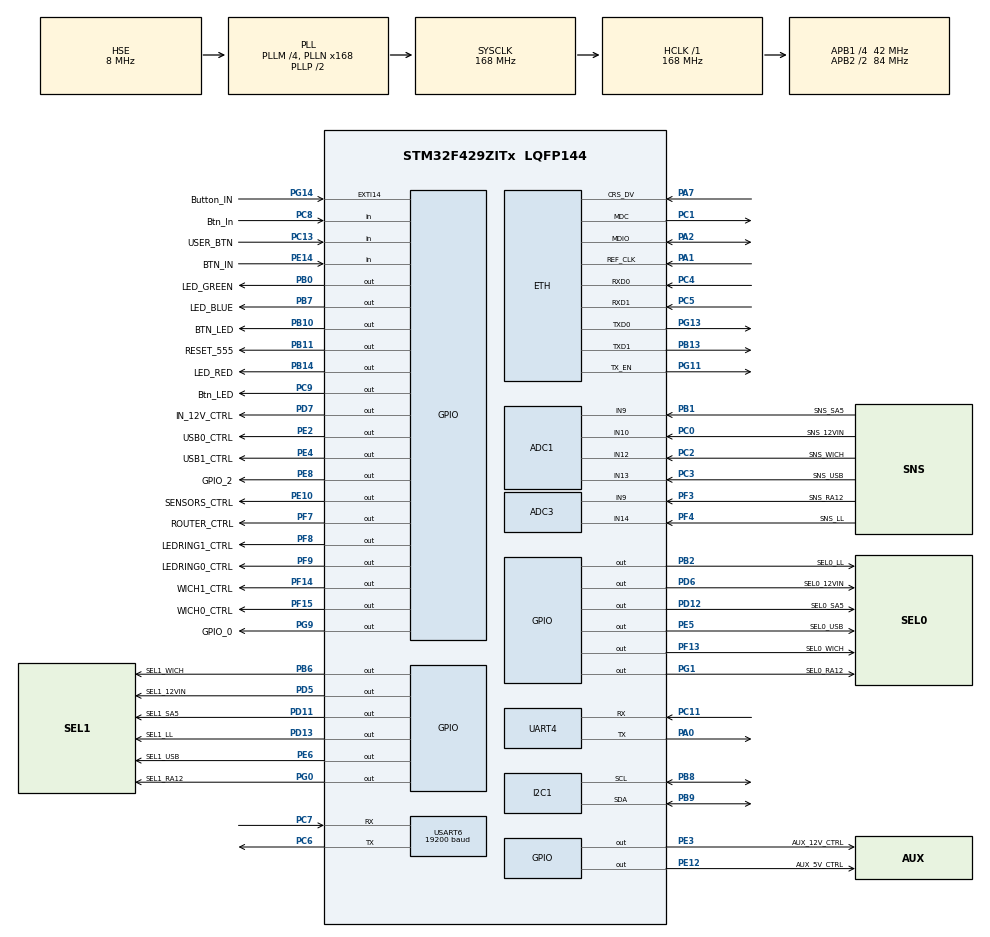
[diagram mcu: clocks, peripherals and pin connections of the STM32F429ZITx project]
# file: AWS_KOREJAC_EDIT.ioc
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ADC1.Channel-1\#ChannelRegularConversion=ADC_CHANNEL_9
ADC1.Channel-2\#ChannelRegularConversion=ADC_CHANNEL_9
ADC1.Channel-3\#ChannelRegularConversion=ADC_CHANNEL_9
ADC1.Channel-4\#ChannelRegularConversion=ADC_CHANNEL_9
ADC1.ContinuousConvMode=ENABLE
ADC1.NbrOfConversion=4
ADC1.NbrOfConversionFlag=1
ADC1.Rank-1\#ChannelRegularConversion=1
ADC1.Rank-2\#ChannelRegularConversion=2
ADC1.Rank-3\#ChannelRegularConversion=3
ADC1.Rank-4\#ChannelRegularConversion=4
ADC1.SamplingTime-1\#ChannelRegularConversion=ADC_SAMPLETIME_3CYCLES
ADC1.SamplingTime-2\#ChannelRegularConversion=ADC_SAMPLETIME_3CYCLES
ADC1.SamplingTime-3\#ChannelRegularConversion=ADC_SAMPLETIME_3CYCLES
ADC1.SamplingTime-4\#ChannelRegularConversion=ADC_SAMPLETIME_3CYCLES
ADC1.ScanConvMode=ENABLE
ADC1.master=1
ADC3.Channel-0\#ChannelRegularConversion=ADC_CHANNEL_9
ADC3.Channel-1\#ChannelRegularConversion=ADC_CHANNEL_9
ADC3.ContinuousConvMode=ENABLE
ADC3.NbrOfConversion=2
ADC3.NbrOfConversionFlag=1
ADC3.Rank-0\#ChannelRegularConversion=1
ADC3.Rank-1\#ChannelRegularConversion=2
ADC3.SamplingTime-0\#ChannelRegularConversion=ADC_SAMPLETIME_3CYCLES
ADC3.SamplingTime-1\#ChannelRegularConversion=ADC_SAMPLETIME_3CYCLES
ADC3.ScanConvMode=ENABLE
ETH.MediaInterface=ETH_MEDIA_INTERFACE_RMII
ETH.PhyAddress=0
FREERTOS.Tasks01=defaultTask,0,1024,StartDefaultTask,Default,NULL,Dynamic,NULL,NULL
FREERTOS.configCHECK_FOR_STACK_OVERFLOW=2
FREERTOS.configENABLE_FPU=1
FREERTOS.configMINIMAL_STACK_SIZE=256
FREERTOS.configTOTAL_HEAP_SIZE=65535
IWDG.Prescaler=IWDG_PRESCALER_256
LWIP.LWIP_NETIF_LINK_CALLBACK=1
LWIP.LWIP_SO_RCVBUF=1
LWIP.Version=v2.1.2_Cube
MBEDTLS.MBEDTLS_DEBUG_C=1
MBEDTLS.MBEDTLS_DHM_C=1
MBEDTLS.MBEDTLS_ECJPAKE_C=1
MBEDTLS.MBEDTLS_ECP_DP_CURVE448_ENABLED=0
MBEDTLS.MBEDTLS_ECP_DP_SECP384R1_ENABLED=0
MBEDTLS.MBEDTLS_ENTROPY_FORCE_SHA256=1
MBEDTLS.MBEDTLS_KEY_EXCHANGE_DHE_PSK_ENABLED=0
MBEDTLS.MBEDTLS_KEY_EXCHANGE_DHE_RSA_ENABLED=0
MBEDTLS.MBEDTLS_KEY_EXCHANGE_ECDHE_ECDSA_ENABLED=1
MBEDTLS.MBEDTLS_KEY_EXCHANGE_ECDHE_PSK_ENABLED=0
MBEDTLS.MBEDTLS_KEY_EXCHANGE_ECDHE_RSA_ENABLED=1
MBEDTLS.MBEDTLS_KEY_EXCHANGE_ECDH_ECDSA_ENABLED=0
MBEDTLS.MBEDTLS_KEY_EXCHANGE_ECDH_RSA_ENABLED=0
MBEDTLS.MBEDTLS_KEY_EXCHANGE_ECJPAKE_ENABLED=0
MBEDTLS.MBEDTLS_KEY_EXCHANGE_PSK_ENABLED=0
MBEDTLS.MBEDTLS_KEY_EXCHANGE_RSA_ENABLED=1
MBEDTLS.MBEDTLS_KEY_EXCHANGE_RSA_PSK_ENABLED=0
MBEDTLS.MBEDTLS_MD5_C=1
MBEDTLS.MBEDTLS_MPI_MAX_SIZE=256
MBEDTLS.MBEDTLS_PKCS1_V15=1
MBEDTLS.MBEDTLS_PKCS1_V21=1
MBEDTLS.MBEDTLS_PLATFORM_MEMORY=1
MBEDTLS.MBEDTLS_RSA_C=1
MBEDTLS.MBEDTLS_SHA1_C=1
MBEDTLS.MBEDTLS_SSL_CIPHERSUITES=MBEDTLS_TLS_ECDHE_ECDSA_WITH_AES_256_GCM_SHA384,MBEDTLS_TLS_ECDHE_ECDSA_WITH_AES_128_GCM_SHA256,MBEDTLS_TLS_ECDHE_RSA_WITH_AES_128_GCM_SHA256
MBEDTLS.MBEDTLS_SSL_CIPHERSUITES_ENABLE=0
MBEDTLS.MBEDTLS_SSL_IN_CONTENT_LEN=4096
MBEDTLS.MBEDTLS_SSL_IN_CONTENT_LEN_ENABLE=0
MBEDTLS.MBEDTLS_SSL_MAX_CONTENT_LEN=8192
MBEDTLS.MBEDTLS_SSL_MAX_CONTENT_LEN_ENABLE=1
Mcu.Family=STM32F4
Mcu.Name=STM32F429ZITx
Mcu.Package=LQFP144
NVIC.ETH_IRQn=true\:5\:0\:false\:false\:true\:true\:false\:true
NVIC.EXTI15_10_IRQn=true\:5\:0\:false\:false\:true\:true\:true\:true
NVIC.PriorityGroup=NVIC_PRIORITYGROUP_4
NVIC.TIM6_DAC_IRQn=true\:0\:0\:false\:false\:true\:false\:false\:true
NVIC.TimeBase=TIM6_DAC_IRQn
NVIC.TimeBaseIP=TIM6
PA0/WKUP.Mode=Asynchronous
PA0/WKUP.Signal=UART4_TX
PA1.Mode=RMII
PA1.Signal=ETH_REF_CLK
PA13.Mode=Trace_Asynchronous_SW
PA13.Signal=SYS_JTMS-SWDIO
PA14.Mode=Trace_Asynchronous_SW
PA14.Signal=SYS_JTCK-SWCLK
PA2.Mode=RMII
PA2.Signal=ETH_MDIO
PA7.Mode=RMII
PA7.Signal=ETH_CRS_DV
PB0.GPIO_Label=LED_GREEN
PB0.Signal=GPIO_Output
PB1.GPIO_Label=SNS_SA5
PB1.Signal=ADCx_IN9
PB10.GPIO_Label=BTN_LED
PB10.Signal=GPIO_Output
PB11.GPIO_Label=RESET_555
PB11.Signal=GPIO_Output
PB13.Mode=RMII
PB13.Signal=ETH_TXD1
PB14.GPIO_Label=LED_RED
PB14.Signal=GPIO_Output
PB2/BOOT1.GPIO_Label=SEL0_LL
PB2/BOOT1.Signal=GPIO_Output
PB3.Mode=Trace_Asynchronous_SW
PB3.Signal=SYS_JTDO-SWO
PB6.GPIO_Label=SEL1_WICH
PB6.Signal=GPIO_Output
PB7.GPIO_Label=LED_BLUE
PB7.Signal=GPIO_Output
PB8.Mode=I2C
PB8.Signal=I2C1_SCL
PB9.Mode=I2C
PB9.Signal=I2C1_SDA
PC0.GPIO_Label=SNS_12VIN
PC0.Signal=ADCx_IN10
PC1.Mode=RMII
PC1.Signal=ETH_MDC
PC11.Mode=Asynchronous
PC11.Signal=UART4_RX
PC13.GPIO_Label=USER_BTN
PC13.Signal=GPIO_Input
PC14/OSC32_IN.Mode=LSE-External-Oscillator
PC14/OSC32_IN.Signal=RCC_OSC32_IN
PC15/OSC32_OUT.Mode=LSE-External-Oscillator
PC15/OSC32_OUT.Signal=RCC_OSC32_OUT
PC2.GPIO_Label=SNS_WICH
PC2.Signal=ADCx_IN12
PC3.GPIO_Label=SNS_USB
PC3.Signal=ADCx_IN13
PC4.Mode=RMII
PC4.Signal=ETH_RXD0
PC5.Mode=RMII
PC5.Signal=ETH_RXD1
PC6.Mode=Asynchronous
PC6.Signal=USART6_TX
PC7.Mode=Asynchronous
PC7.Signal=USART6_RX
PC8.GPIO_Label=Btn_In
PC8.Signal=GPIO_Input
PC9.GPIO_Label=Btn_LED
PC9.Signal=GPIO_Output
PD11.GPIO_Label=SEL1_SA5
PD11.Signal=GPIO_Output
PD12.GPIO_Label=SEL0_SA5
PD12.Signal=GPIO_Output
PD13.GPIO_Label=SEL1_LL
PD13.Signal=GPIO_Output
PD5.GPIO_Label=SEL1_12VIN
PD5.Signal=GPIO_Output
PD6.GPIO_Label=SEL0_12VIN
PD6.Signal=GPIO_Output
PD7.GPIO_Label=IN_12V_CTRL
PD7.Signal=GPIO_Output
PE10.GPIO_Label=SENSORS_CTRL
PE10.Signal=GPIO_Output
PE12.GPIO_Label=AUX_5V_CTRL
PE12.Signal=GPIO_Output
PE14.GPIO_Label=BTN_IN
PE14.Signal=GPIO_Input
PE2.GPIO_Label=USB0_CTRL
PE2.Signal=GPIO_Output
PE3.GPIO_Label=AUX_12V_CTRL
PE3.Signal=GPIO_Output
PE4.GPIO_Label=USB1_CTRL
PE4.Signal=GPIO_Output
PE5.GPIO_Label=SEL0_USB
PE5.Signal=GPIO_Output
PE6.GPIO_Label=SEL1_USB
PE6.Signal=GPIO_Output
PE8.GPIO_Label=GPIO_2
PE8.Signal=GPIO_Output
PF13.GPIO_Label=SEL0_WICH
PF13.Signal=GPIO_Output
PF14.GPIO_Label=WICH1_CTRL
PF14.Signal=GPIO_Output
PF15.GPIO_Label=WICH0_CTRL
PF15.Signal=GPIO_Output
PF3.GPIO_Label=SNS_RA12
PF3.Mode=IN9
PF3.Signal=ADC3_IN9
PF4.GPIO_Label=SNS_LL
PF4.Mode=IN14
PF4.Signal=ADC3_IN14
PF7.GPIO_Label=ROUTER_CTRL
PF7.Signal=GPIO_Output
PF8.GPIO_Label=LEDRING1_CTRL
PF8.Signal=GPIO_Output
PF9.GPIO_Label=LEDRING0_CTRL
PF9.Signal=GPIO_Output
PG0.GPIO_Label=SEL1_RA12
PG0.Signal=GPIO_Output
PG1.GPIO_Label=SEL0_RA12
PG1.Signal=GPIO_Output
PG11.Mode=RMII
PG11.Signal=ETH_TX_EN
PG13.Mode=RMII
PG13.Signal=ETH_TXD0
PG14.GPIO_Label=Button_IN
PG14.GPIO_PuPd=GPIO_PULLDOWN
PG14.Signal=GPXTI14
PG9.GPIO_Label=GPIO_0
PG9.Signal=GPIO_Output
PH0/OSC_IN.Mode=HSE-External-Clock-Source
PH0/OSC_IN.Signal=RCC_OSC_IN
PH1/OSC_OUT.Mode=HSE-External-Clock-Source
PH1/OSC_OUT.Signal=RCC_OSC_OUT
ProjectManager.HeapSize=0x200
ProjectManager.StackSize=0x400
ProjectManager.TargetToolchain=STM32CubeIDE
RCC.48MHZClocksFreq_Value=48000000
RCC.AHBFreq_Value=168000000
RCC.APB1CLKDivider=RCC_HCLK_DIV4
RCC.APB1Freq_Value=42000000
RCC.APB1TimFreq_Value=84000000
RCC.APB2CLKDivider=RCC_HCLK_DIV2
RCC.APB2Freq_Value=84000000
RCC.APB2TimCLKDivider=2
RCC.APB2TimFreq_Value=168000000
RCC.CortexFreq_Value=168000000
RCC.HCLKFreq_Value=168000000
RCC.HSE_VALUE=8000000
RCC.HSI_VALUE=16000000
RCC.PLLM=4
RCC.PLLMUL=RCC_PLL_MUL9
RCC.PLLN=168
RCC.PLLQ=7
RCC.PLLSourceVirtual=RCC_PLLSOURCE_HSE
RCC.PRESCALERUSB=RCC_USBCLKSOURCE_PLL_DIV1_5
RCC.SYSCLKFreq_VALUE=168000000
RCC.SYSCLKSource=RCC_SYSCLKSOURCE_PLLCLK
RCC.SYSCLKSourceVirtual=RCC_SYSCLKSOURCE_PLLCLK
RCC.USBFreq_Value=48000000
RCC.VCOOutputFreq_Value=336000000
SH.ADCx_IN10.0=ADC1_IN10,IN10
SH.ADCx_IN12.0=ADC1_IN12,IN12
SH.ADCx_IN13.0=ADC1_IN13,IN13
SH.ADCx_IN9.0=ADC1_IN9,IN9
UART4.VirtualMode=Asynchronous
USART6.BaudRate=19200
USART6.VirtualMode=VM_ASYNC
VP_FREERTOS_VS_CMSIS_V1.Mode=CMSIS_V1
VP_IWDG_VS_IWDG.Mode=IWDG_Activate
VP_LWIP_VS_Enabled.Mode=Enabled
VP_MBEDTLS_VS_MBEDTLS.Mode=Enabled
VP_RNG_VS_RNG.Mode=RNG_Activate
VP_SYS_VS_tim6.Mode=TIM6
board=NUCLEO-F429ZI

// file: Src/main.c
/* USER CODE BEGIN Header */
/**
  ******************************************************************************
  * @file           : main.c
  * @brief          : Main program body
  ******************************************************************************
  * @attention
  *
  * <h2><center>&copy; Copyright (c) 2020 STMicroelectronics.
  * All rights reserved.</center></h2>
  *
  * This software component is licensed by ST under Ultimate Liberty license
  * SLA0044, the "License"; You may not use this file except in compliance with
  * the License. You may obtain a copy of the License at:
  *                             www.st.com/SLA0044
  *
  ******************************************************************************
  */
/* USER CODE END Header */

#include "main.h"
#include "cmsis_os.h"
#include "adc.h"
#include "i2c.h"
#include "iwdg.h"
#include "mbedtls.h"
#include "rng.h"
#include "usart.h"
#include "gpio.h"

/* USER CODE BEGIN Includes */
#include "time.h"
#include <string.h>
#include "RTC.h"
#include <stdio.h>
/* USER CODE END Includes */

/* USER CODE BEGIN PV */
extern uint32_t MilliTimer;
/* USER CODE END PV */

void SystemClock_Config(void);
void MX_FREERTOS_Init(void);

/* USER CODE BEGIN 0 */
int _write(int file, char *ptr, int len)
{
  int DataIdx;

  for (DataIdx = 0; DataIdx < len; DataIdx++)
  {
    ITM_SendChar(*ptr++);
  }
  return len;
}
/* USER CODE END 0 */

int main(void)
{

  /* MCU Configuration--------------------------------------------------------*/

  /* Reset of all peripherals, Initializes the Flash interface and the Systick. */
  HAL_Init();

  /* Configure the system clock */
  SystemClock_Config();

  /* Initialize all configured peripherals */
  MX_GPIO_Init();
  MX_RNG_Init();
  /* Up to user define the empty MX_MBEDTLS_Init() function located in mbedtls.c file */
  MX_UART4_Init();
  MX_I2C1_Init();
  MX_USART6_UART_Init();
  MX_ADC1_Init();
  MX_ADC3_Init();
  MX_IWDG_Init();
  /* USER CODE BEGIN 2 */
  printf("Don't remove this printf to prevent hard fault.\r\n");
  srand(time(NULL));
  setTime(00, 58, 19, 1, 23, 11, 21);
  //setMpptMode(5);
  HAL_GPIO_WritePin(RESET_555_GPIO_Port, RESET_555_Pin, RESET);
  HAL_GPIO_WritePin(IN_12V_CTRL_GPIO_Port, IN_12V_CTRL_Pin, SET);
  HAL_GPIO_WritePin(ROUTER_CTRL_GPIO_Port, ROUTER_CTRL_Pin, SET);
  HAL_GPIO_WritePin(GPIO_0_GPIO_Port, GPIO_0_Pin, RESET);
  HAL_GPIO_WritePin(GPIO_2_GPIO_Port, GPIO_2_Pin, SET);
  HAL_IWDG_Refresh(&hiwdg);
  /* USER CODE END 2 */

  /* Call init function for freertos objects (in freertos.c) */
  MX_FREERTOS_Init();
  /* Start scheduler */
  osKernelStart();

  /* We should never get here as control is now taken by the scheduler */
  /* Infinite loop */
  while (1)
  {

  }
}

void SystemClock_Config(void)
{
  RCC_OscInitTypeDef RCC_OscInitStruct = {0};
  RCC_ClkInitTypeDef RCC_ClkInitStruct = {0};

  /** Configure the main internal regulator output voltage
  */
  __HAL_RCC_PWR_CLK_ENABLE();
  __HAL_PWR_VOLTAGESCALING_CONFIG(PWR_REGULATOR_VOLTAGE_SCALE1);
  /** Initializes the CPU, AHB and APB busses clocks
  */
  RCC_OscInitStruct.OscillatorType = RCC_OSCILLATORTYPE_LSI|RCC_OSCILLATORTYPE_HSE;
  RCC_OscInitStruct.HSEState = RCC_HSE_BYPASS;
  RCC_OscInitStruct.LSIState = RCC_LSI_ON;
  RCC_OscInitStruct.PLL.PLLState = RCC_PLL_ON;
  RCC_OscInitStruct.PLL.PLLSource = RCC_PLLSOURCE_HSE;
  RCC_OscInitStruct.PLL.PLLM = 4;
  RCC_OscInitStruct.PLL.PLLN = 168;
  RCC_OscInitStruct.PLL.PLLP = RCC_PLLP_DIV2;
  RCC_OscInitStruct.PLL.PLLQ = 7;
  if (HAL_RCC_OscConfig(&RCC_OscInitStruct) != HAL_OK)
  {
    Error_Handler();
  }
  /** Initializes the CPU, AHB and APB busses clocks
  */
  RCC_ClkInitStruct.ClockType = RCC_CLOCKTYPE_HCLK|RCC_CLOCKTYPE_SYSCLK
                              |RCC_CLOCKTYPE_PCLK1|RCC_CLOCKTYPE_PCLK2;
  RCC_ClkInitStruct.SYSCLKSource = RCC_SYSCLKSOURCE_PLLCLK;
  RCC_ClkInitStruct.AHBCLKDivider = RCC_SYSCLK_DIV1;
  RCC_ClkInitStruct.APB1CLKDivider = RCC_HCLK_DIV4;
  RCC_ClkInitStruct.APB2CLKDivider = RCC_HCLK_DIV2;

  if (HAL_RCC_ClockConfig(&RCC_ClkInitStruct, FLASH_LATENCY_5) != HAL_OK)
  {
    Error_Handler();
  }
}

 /**
  * @brief  Period elapsed callback in non blocking mode
  * @note   This function is called  when TIM6 interrupt took place, inside
  * HAL_TIM_IRQHandler(). It makes a direct call to HAL_IncTick() to increment
  * a global variable "uwTick" used as application time base.
  * @param  htim : TIM handle
  * @retval None
  */
void HAL_TIM_PeriodElapsedCallback(TIM_HandleTypeDef *htim)
{
  if (htim->Instance == TIM6) {
    HAL_IncTick();
  }
  /* USER CODE BEGIN Callback 1 */
  if (htim->Instance == TIM6) {
      MilliTimer++;
  }

  /* USER CODE END Callback 1 */
}

void Error_Handler(void)
{
}

/************************ (C) COPYRIGHT STMicroelectronics *****END OF FILE****/

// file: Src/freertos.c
/* USER CODE BEGIN Header */
/**
 ******************************************************************************
 * File Name          : freertos.c
 * Description        : Code for freertos applications
 ******************************************************************************
 * @attention
 *
 * <h2><center>&copy; Copyright (c) 2020 STMicroelectronics.
 * All rights reserved.</center></h2>
 *
 * This software component is licensed by ST under Ultimate Liberty license
 * SLA0044, the "License"; You may not use this file except in compliance with
 * the License. You may obtain a copy of the License at:
 *                             www.st.com/SLA0044
 *
 ******************************************************************************
 */
/* USER CODE END Header */

#include "FreeRTOS.h"
#include "task.h"
#include "main.h"
#include "cmsis_os.h"

/* USER CODE BEGIN Includes */
#include "lwip.h"
#include "lwip/api.h"
#include "mqtt_task.h"

/* USER CODE END Includes */

/* USER CODE BEGIN Variables */
extern struct netif gnetif; //extern gnetif

osThreadId mqttClientSubTaskHandle;  //mqtt client task handle
osThreadId mqttClientPubTaskHandle;  //mqtt client task handle
/* USER CODE END Variables */
osThreadId defaultTaskHandle;

/* USER CODE BEGIN FunctionPrototypes */
void MqttClientSubTask(void const *argument); //mqtt client subscribe task function
void MqttClientPubTask(void const *argument); //mqtt client publish task function
int  MqttConnectBroker(void); 				//mqtt broker connect function
void MqttMessageArrived(MessageData* msg); //mqtt message callback function
//void StartT2RTC(void const * argument);
/* USER CODE END FunctionPrototypes */

void StartDefaultTask(void const * argument);

extern void MX_LWIP_Init(void);
void MX_FREERTOS_Init(void); /* (MISRA C 2004 rule 8.1) */

/* GetIdleTaskMemory prototype (linked to static allocation support) */
void vApplicationGetIdleTaskMemory( StaticTask_t **ppxIdleTaskTCBBuffer, StackType_t **ppxIdleTaskStackBuffer, uint32_t *pulIdleTaskStackSize );

/* Hook prototypes */
void vApplicationStackOverflowHook(xTaskHandle xTask, signed char *pcTaskName);

/* USER CODE BEGIN 4 */
void vApplicationStackOverflowHook(xTaskHandle xTask, signed char *pcTaskName)
{
	/* Run time stack overflow checking is performed if
   configCHECK_FOR_STACK_OVERFLOW is defined to 1 or 2. This hook function is
   called if a stack overflow is detected. */
	HAL_GPIO_WritePin(LED_RED_GPIO_Port, LED_RED_Pin, GPIO_PIN_SET); //turn on red led when detects stack overflow

}
/* USER CODE END 4 */

/* USER CODE BEGIN GET_IDLE_TASK_MEMORY */
static StaticTask_t xIdleTaskTCBBuffer;
static StackType_t xIdleStack[configMINIMAL_STACK_SIZE];

void vApplicationGetIdleTaskMemory( StaticTask_t **ppxIdleTaskTCBBuffer, StackType_t **ppxIdleTaskStackBuffer, uint32_t *pulIdleTaskStackSize )
{
  *ppxIdleTaskTCBBuffer = &xIdleTaskTCBBuffer;
  *ppxIdleTaskStackBuffer = &xIdleStack[0];
  *pulIdleTaskStackSize = configMINIMAL_STACK_SIZE;
  /* place for user code */
}
/* USER CODE END GET_IDLE_TASK_MEMORY */

void MX_FREERTOS_Init(void) {

  /* Create the thread(s) */
  /* definition and creation of defaultTask */
  osThreadDef(defaultTask, StartDefaultTask, osPriorityNormal, 0, 1024);
  defaultTaskHandle = osThreadCreate(osThread(defaultTask), NULL);

}

void StartDefaultTask(void const * argument)
{
  /* USER CODE BEGIN StartDefaultTask */
	MX_LWIP_Init();
	uint8_t i;

	while(1)
	{
		//waiting for valid ip address
		if (gnetif.ip_addr.addr == 0 || gnetif.netmask.addr == 0 || gnetif.gw.addr == 0) //system has no valid ip address
		{
			osDelay(1000);
			continue;
		}
		else
		{
			printf("DHCP/Static IP O.K.\n");
			HAL_GPIO_WritePin(LED_RED_GPIO_Port, LED_RED_Pin, 1);
			HAL_GPIO_WritePin(LED_GREEN_GPIO_Port, LED_GREEN_Pin, 1);
			HAL_GPIO_WritePin(LED_BLUE_GPIO_Port, LED_BLUE_Pin, 1);
			break;
		}
	}
	/*
	 * !!! Important
	 * I don't know but mqttClientPubTask failed without compiler optimization option
	 */
	osThreadDef(mqttClientSubTask, MqttClientSubTask, osPriorityNormal, 0, 750); //subscribe task
	mqttClientSubTaskHandle = osThreadCreate(osThread(mqttClientSubTask), NULL);
	osThreadDef(mqttClientPubTask, MqttClientPubTask, osPriorityAboveNormal, 0, 1315); //publish task
	mqttClientPubTaskHandle = osThreadCreate(osThread(mqttClientPubTask), NULL);

	/* Infinite loop */
	for(;;)
	{
		HAL_GPIO_TogglePin(LED_GREEN_GPIO_Port, LED_GREEN_Pin); //toggle running led
		i++;
//		if(i==3)
//		{
//			vTaskDelete(defaultTaskHandle);
//		}
		osDelay(500);
	}
  /* USER CODE END StartDefaultTask */
}

/************************ (C) COPYRIGHT STMicroelectronics *****END OF FILE****/
